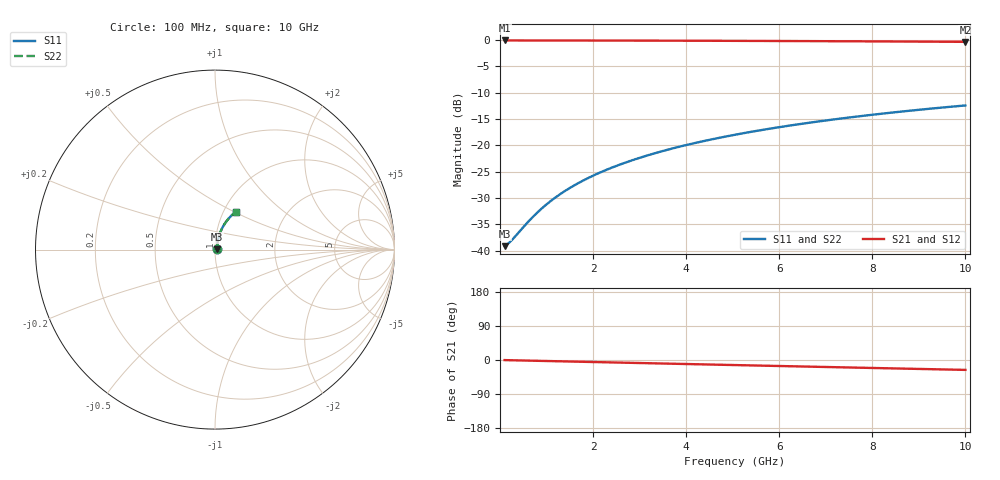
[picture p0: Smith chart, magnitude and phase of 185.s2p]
# Hz S RI R 50.00
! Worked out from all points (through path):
!   100 points, 100 MHz to 10 GHz, reference 50 ohm
!   highest |S21| = -0.09 dB at 100 MHz (marker M1); lowest = -0.4 dB at 10 GHz (marker M2)
!   group delay of S21, straight-line fit = 7.26 ps
!   lowest |S11| = -39.1 dB at 100 MHz (marker M3), VSWR 1.02, Z = 51.1 + j0.253 ohm
!   |S11| at or under -10 dB: start of sweep to end of sweep
!   |S22| runs from -39.1 to -12.4 dB; largest |S21 - S12| = 0
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1e8  0.0108 0.00248  0.9892 -0.00459  0.9892 -0.00459  0.0108 0.00248
2e8  0.0109 0.00495  0.9891 -0.00918  0.9891 -0.00918  0.0109 0.00495
3e8  0.011 0.00742  0.989 -0.0138  0.989 -0.0138  0.011 0.00742
6e8  0.0114 0.0148  0.9885 -0.0275  0.9885 -0.0275  0.0114 0.0148
7e8  0.0116 0.0173  0.9883 -0.0321  0.9883 -0.0321  0.0116 0.0173
8e8  0.0118 0.0198  0.988 -0.0367  0.988 -0.0367  0.0118 0.0198
1e9  0.0123 0.0247  0.9875 -0.0459  0.9875 -0.0459  0.0123 0.0247
1.2e9  0.0128 0.0296  0.9868 -0.055  0.9868 -0.055  0.0128 0.0296
1.4e9  0.0134 0.0345  0.9861 -0.0642  0.9861 -0.0642  0.0134 0.0345
1.6e9  0.0142 0.0394  0.9852 -0.0733  0.9852 -0.0733  0.0142 0.0394
1.8e9  0.015 0.0443  0.9843 -0.0824  0.9843 -0.0824  0.015 0.0443
2.1e9  0.0163 0.0515  0.9826 -0.096  0.9826 -0.096  0.0163 0.0515
2.5e9  0.0185 0.0612  0.9801 -0.1141  0.9801 -0.1141  0.0185 0.0612
2.9e9  0.021 0.0707  0.9771 -0.1321  0.9771 -0.1321  0.021 0.0707
3.4e9  0.0246 0.0824  0.9728 -0.1545  0.9728 -0.1545  0.0246 0.0824
4.2e9  0.0314 0.1008  0.9645 -0.1898  0.9645 -0.1898  0.0314 0.1008
5.1e9  0.0407 0.1207  0.9533 -0.2288  0.9533 -0.2288  0.0407 0.1207
5.9e9  0.0502 0.1376  0.9418 -0.2627  0.9418 -0.2627  0.0502 0.1376
6.7e9  0.0609 0.1537  0.9288 -0.2958  0.9288 -0.2958  0.0609 0.1537
7.5e9  0.0726 0.1689  0.9144 -0.328  0.9144 -0.328  0.0726 0.1689
8.4e9  0.087 0.1848  0.8968 -0.3631  0.8968 -0.3631  0.087 0.1848
1e10  0.1152 0.2097  0.8617 -0.4222  0.8617 -0.4222  0.1152 0.2097
